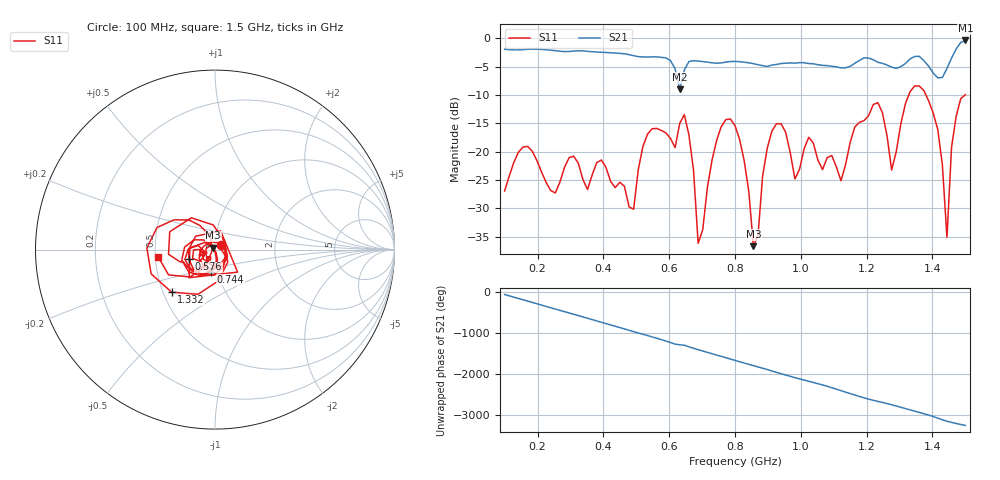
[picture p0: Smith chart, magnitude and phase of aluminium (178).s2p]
! NanoVNA-App
! Date: 2025-09-25 14:56:40
! Start: 100MHz Stop: 1,5GHz Points: 101
! S-Parameter data: F S11 S21 S12 S22
# Hz S RI R 50
!  Frequency  S11_Real  S11_Imag  S21_Real  S21_Imag  S12_Real  S12_Imag  S22_Real  S22_Imag
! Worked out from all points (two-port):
!   101 points, 100 MHz to 1.5 GHz, reference 50 ohm
!   highest |S21| = -0.37 dB at 1.5 GHz (marker M1); lowest = -9.0 dB at 632 MHz (marker M2)
!   |S21| within 3 dB of the highest: start of sweep to 579.1 MHz; 1.459 GHz to end of sweep (the widest 2 of 3)
!   lowest |S11| = -36.7 dB at 856 MHz (marker M3), VSWR 1.03, Z = 48.9 + j0.991 ohm
!   |S11| at or under -10 dB: start of sweep to 1.328 GHz; 1.38 GHz to 1.499 GHz (118.7 MHz wide, 8.25 % of centre)
!   S12 and S22 are empty: the file has one direction only
!   S11 on the Smith chart (normalised r, x): 100 MHz: 1.07, +0.06; 576 MHz: 0.74, -0.08; 744 MHz: 0.93, -0.23; 1.332 GHz: 0.55, -0.30; 1.5 GHz: 0.52, -0.05
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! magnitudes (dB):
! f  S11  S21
! 100 MHz  -26.9  -1.9
! 170 MHz  -19.1  -1.9
! 338 MHz  -24.9  -2.2
! 492 MHz  -30.1  -3.1
! 576 MHz  -16.2  -3.4
! 632 MHz  -15.0  -9.0
! 660 MHz  -17.0  -4.1
! 688 MHz  -36.2  -4.0
! 744 MHz  -18.0  -4.4
! 800 MHz  -15.4  -4.1
! 856 MHz  -36.7  -4.5
! 912 MHz  -16.4  -4.7
! 982 MHz  -24.8  -4.4
! 1.038 GHz  -18.5  -4.5
! 1.122 GHz  -25.1  -5.2
! 1.234 GHz  -11.3  -4.2
! 1.276 GHz  -23.2  -5.1
! 1.332 GHz  -9.4  -3.6
! 1.416 GHz  -16.1  -7.0
! 1.444 GHz  -35.1  -5.3
! 1.458 GHz  -19.2  -3.5
! 1.5 GHz  -9.9  -0.4
